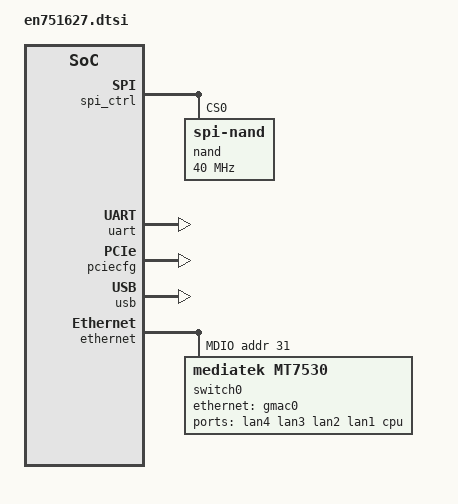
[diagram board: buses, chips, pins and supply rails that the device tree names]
// SPDX-License-Identifier: (GPL-2.0-only OR BSD-2-Clause)
/*
 * EcoNet EN751627 SoC device tree include
 * EN751627 family: EN7516, EN7527, EN7561
 * Big-endian quad-VPE MIPS 1004Kc with MIPS GIC
 *
 * Register map from EcoNet GPL kernel (tc3162.h):
 *   SCU/CLK:   0x1fb00000
 *   Chip SCU:  0x1fa20000
 *   SPI ctrl:  0x1fa10000
 *   Ethernet:  0x1fb50000
 *   xHCI USB:  0x1fb90000
 *   PCIe cfg:  0x1fb80000
 *   GIC:       0x1f8c0000
 *   UART:      0x1fbf0000
 *   Timer:     0x1fbf0400 / 0x1fbe0000
 *   GPIO:      0x1fbf0200
 */

/dts-v1/;

#include <dt-bindings/interrupt-controller/mips-gic.h>
#include <dt-bindings/clock/econet,en751221-scu.h>
#include <dt-bindings/reset/econet,en751221-scu.h>
#include <dt-bindings/gpio/gpio.h>

/ {
	compatible = "econet,en751627";
	#address-cells = <1>;
	#size-cells = <1>;

	hpt_clock: clock {
		compatible = "fixed-clock";
		#clock-cells = <0>;
		clock-frequency = <200000000>;  /* 200 MHz */
	};

	spi_clock: spi-clock {
		compatible = "fixed-clock";
		#clock-cells = <0>;
		clock-frequency = <40000000>;  /* 40 MHz */
	};

	cpus {
		#address-cells = <1>;
		#size-cells = <0>;

		cpu@0 {
			device_type = "cpu";
			compatible = "mips,mips1004Kc";
			reg = <0>;
		};

		cpu@1 {
			device_type = "cpu";
			compatible = "mips,mips1004Kc";
			reg = <1>;
		};

		cpu@2 {
			device_type = "cpu";
			compatible = "mips,mips1004Kc";
			reg = <2>;
		};

		cpu@3 {
			device_type = "cpu";
			compatible = "mips,mips1004Kc";
			reg = <3>;
		};
	};

	cpuintc: interrupt-controller {
		compatible = "mti,cpu-interrupt-controller";
		interrupt-controller;
		#address-cells = <0>;
		#interrupt-cells = <1>;
	};

	gic: interrupt-controller@1f8c0000 {
		compatible = "mti,gic";
		reg = <0x1f8c0000 0x20000>;

		interrupt-controller;
		#interrupt-cells = <3>;

		interrupt-parent = <&cpuintc>;
		interrupts = <2>;
	};

	/*
	 * EN751627 SCU uses EN751221 register layout.
	 * The chip-scu syscon is required by the EN751221 clock driver
	 * for regmap access to read clock divider registers.
	 */
	chip_scu: syscon@1fa20000 {
		compatible = "econet,en751221-chip-scu", "syscon";
		reg = <0x1fa20000 0x970>;
	};

	scu: system-controller@1fb00000 {
		compatible = "econet,en751221-scu";
		reg = <0x1fb00000 0x970>;
		#clock-cells = <1>;
		#reset-cells = <1>;
	};

	/* PCIe PHY initialised by BL2 bootloader; no driver required */

	gpio0: gpio@1fbf0200 {
		compatible = "airoha,en7523-gpio";
		reg = <0x1fbf0204 0x4>,
		      <0x1fbf0200 0x4>,
		      <0x1fbf0220 0x4>,
		      <0x1fbf0214 0x4>;
		gpio-controller;
		#gpio-cells = <2>;
	};

	/*
	 * Serial LED shift register (SGPIO).
	 * CR_SGPIO_DATA at 0x1fbf0224 — 14-bit shift register output.
	 * Write a 14-bit word; hardware clocks it out serially to 7 RGB LEDs.
	 * bit(n*2)=Red, bit(n*2+1)=Green per LED, n=0..6 (LSB-first).
	 * LED order: 0=power, 1=sync, 2=globe, 3=ethernet, 4=2.4GHz, 5=5GHz, 6=phone.
	 * Bootloader boot state: 0x3F19 (power=red+green, ethernet=red+green,
	 *   2.4GHz/5GHz/phone=orange).
	 * Access via: /sys/kernel/debug/regmap/1fbf0224.sgpio-leds/registers
	 * Write example (power green only = 0x0002):
	 *   printf "0: 0x00000002\n" > /sys/kernel/debug/regmap/1fbf0224.sgpio-leds/registers
	 * Polling: bit31 of the register is SLED_STATUS_READY — poll before write.
	 */
	sgpio_leds: sgpio-leds@1fbf0224 {
		compatible = "syscon";
		reg = <0x1fbf0224 0x4>;
		reg-io-width = <4>;
	};

	gpio1: gpio@1fbf0270 {
		compatible = "airoha,en7523-gpio";
		reg = <0x1fbf0270 0x4>,
		      <0x1fbf0260 0x4>,
		      <0x1fbf0264 0x4>,
		      <0x1fbf0278 0x4>;
		gpio-controller;
		#gpio-cells = <2>;
	};

	spi_ctrl: spi@1fa10000 {
		compatible = "airoha,en7581-snand";
		reg = <0x1fa10000 0x140>,
		      <0x1fa11000 0x160>;

		clocks = <&spi_clock>;
		clock-names = "spi";

		#address-cells = <1>;
		#size-cells = <0>;

		nand: nand@0 {
			compatible = "spi-nand";
			reg = <0>;
			spi-max-frequency = <40000000>;
			spi-tx-bus-width = <1>;
			spi-rx-bus-width = <2>;
		};
	};

	uart: serial@1fbf0000 {
		/*
		 * Use airoha,en7523-uart (8250_of) without an IRQ so the
		 * serial core falls back to polled RX via serial8250_timeout.
		 *
		 * ns16550a requires an IRQ (of_serial returns -ENXIO without
		 * one). 8250_of tolerates irq=0: univ8250_setup_irq() sees no
		 * IRQ and arms a ~10ms poll timer instead.
		 *
		 * THRE is always high on EN751627 before any RX byte arrives,
		 * so an EDGE_RISING IRQ never fires for RX; LEVEL_HIGH causes
		 * ~100k spurious THRE interrupts per second. No IRQ is correct.
		 */
		compatible = "airoha,en7523-uart";
		reg = <0x1fbf0000 0x30>;
		reg-io-width = <4>;
		reg-shift = <2>;

		clock-frequency = <1843200>;
	};

	timer_hpt: timer@1fbf0400 {
		compatible = "econet,en7528-timer";
		reg = <0x1fbf0400 0x14>,
		      <0x1fbe0000 0x14>;

		interrupt-parent = <&gic>;
		interrupts = <GIC_SHARED 30 IRQ_TYPE_EDGE_RISING>,
			     <GIC_SHARED 29 IRQ_TYPE_EDGE_RISING>;

		clocks = <&hpt_clock>;
	};

	/*
	 * PCIe config space. The EN751627 has 2 PCIe ports at the same
	 * addresses as EN7528.
	 */
	pciecfg: pciecfg@1fb80000 {
		compatible = "mediatek,generic-pciecfg", "syscon";
		reg = <0x1fb80000 0x1000>;
	};

	pcie0: pcie@1fb81000 {
		compatible = "econet,en7528-pcie";
		device_type = "pci";
		reg = <0x1fb81000 0x1000>;
		reg-names = "port0";
		linux,pci-domain = <0>;
		#address-cells = <3>;
		#size-cells = <2>;
		interrupt-parent = <&gic>;
		interrupts = <GIC_SHARED 23 IRQ_TYPE_LEVEL_HIGH>;
		interrupt-names = "pcie_irq";
		clocks = <&scu EN751221_CLK_PCIE>;
		clock-names = "sys_ck0";
		bus-range = <0x00 0xff>;
		ranges = <0x01000000 0 0x00000000 0x1f600000 0 0x00010000>,
			 <0x82000000 0 0x20000000 0x20000000 0 0x08000000>;
		status = "disabled";

		#interrupt-cells = <1>;
		interrupt-map-mask = <0 0 0 7>;
		interrupt-map = <0 0 0 1 &pcie_intc0 0>,
				<0 0 0 2 &pcie_intc0 1>,
				<0 0 0 3 &pcie_intc0 2>,
				<0 0 0 4 &pcie_intc0 3>;

		pcie_intc0: interrupt-controller {
			interrupt-controller;
			#address-cells = <0>;
			#interrupt-cells = <1>;
		};

		slot0: pcie@0,0 {
			device_type = "pci";
			reg = <0x0000 0 0 0 0>;
			#address-cells = <3>;
			#size-cells = <2>;
			ranges;
		};
	};

	pcie1: pcie@1fb83000 {
		compatible = "econet,en7528-pcie";
		device_type = "pci";
		reg = <0x1fb83000 0x1000>;
		reg-names = "port1";
		linux,pci-domain = <1>;
		#address-cells = <3>;
		#size-cells = <2>;
		interrupt-parent = <&gic>;
		interrupts = <GIC_SHARED 24 IRQ_TYPE_LEVEL_HIGH>;
		interrupt-names = "pcie_irq";
		clocks = <&scu EN751221_CLK_PCIE>;
		clock-names = "sys_ck1";
		bus-range = <0x00 0xff>;
		ranges = <0x01000000 0 0x00000000 0x1f610000 0 0x00010000>,
			 <0x82000000 0 0x28000000 0x28000000 0 0x08000000>;
		status = "disabled";

		#interrupt-cells = <1>;
		interrupt-map-mask = <0 0 0 7>;
		interrupt-map = <0 0 0 1 &pcie_intc1 0>,
				<0 0 0 2 &pcie_intc1 1>,
				<0 0 0 3 &pcie_intc1 2>,
				<0 0 0 4 &pcie_intc1 3>;

		pcie_intc1: interrupt-controller {
			interrupt-controller;
			#address-cells = <0>;
			#interrupt-cells = <1>;
		};

		slot1: pcie@0,0 {
			device_type = "pci";
			reg = <0x0000 0 0 0 0>;
			#address-cells = <3>;
			#size-cells = <2>;
			ranges;
		};
	};

	usb: usb@1fb90000 {
		compatible = "mediatek,mt8173-xhci", "mediatek,mtk-xhci";
		reg = <0x1fb90000 0x4000>,
		      <0x1fa80700 0x100>;
		reg-names = "mac", "ippc";

		#address-cells = <1>;
		#size-cells = <0>;

		interrupt-parent = <&gic>;
		interrupts = <GIC_SHARED 17 IRQ_TYPE_LEVEL_HIGH>;
		usb3-lpm-capable;
	};

	ethernet: ethernet@1fb50000 {
		compatible = "econet,en751627-eth";
		reg = <0x1fb50000 0x10000>;

		#address-cells = <1>;
		#size-cells = <0>;

		interrupt-parent = <&gic>;
		/*
		 * From EcoNet GPL kernel (cjdelisle/EcoNet-IOPSYS-GPL-5.4.55):
		 *   arch/mips/econet/irq.c gic_intr_map[] + tc3182_int_source.h:
		 *   QDMA_LAN0_INTR: GIC Source=21 -> GIC_SHARED 21 -> hwirq 28
		 *   QDMA_WAN0_INTR: GIC Source=22 -> GIC_SHARED 22 -> hwirq 29
		 */
		interrupts = <GIC_SHARED 21 IRQ_TYPE_LEVEL_HIGH>,
			     <GIC_SHARED 22 IRQ_TYPE_LEVEL_HIGH>;

		clocks = <&scu EN751221_CLK_GSW>;
		clock-names = "gsw";

		resets = <&scu EN751221_FE_RST>,
			 <&scu EN751221_FE_QDMA1_RST>,
			 <&scu EN751221_FE_QDMA2_RST>;
		reset-names = "fe", "qdma0", "qdma1";

		gmac0: mac@0 {
			compatible = "econet,eth-mac";
			reg = <0>;
			phy-mode = "trgmii";

			fixed-link {
				speed = <1000>;
				full-duplex;
				pause;
			};
		};

		gmac1: mac@1 {
			compatible = "econet,eth-mac";
			reg = <1>;
			status = "disabled";
		};

		/*
		 * MT7530 5-port GbE switch — MCM, accessed via MMIO-backed mii_bus
		 * registered by econet_eth driver in en75_probe(). GPIO25/26 do NOT
		 * connect to MT7530 MDIO pins — removing virtual,mdio-gpio.
		 * econet_eth registers en75_sw_mdio_read/write backed by switch_regs
		 * at 0x1fb58000 (FE+0x8000). mt7530-mdio probes switch@1f on that bus.
		 * mediatek,mcm: triggers MCM reset path in mt7530 driver.
		 * GSW reset on switch@1f only (not in econet_eth resets list).
		 */
		mdio: mdio-bus {
			#address-cells = <1>;
			#size-cells = <0>;

			switch0: switch@1f {
				compatible = "mediatek,mt7530";
				#address-cells = <1>;
				#size-cells = <0>;
				reg = <0x1f>;
				mediatek,mcm;
				resets = <&scu EN751221_GSW_RST>;
				reset-names = "mcm";


				ports {
					#address-cells = <1>;
					#size-cells = <0>;

					port@0 {
						reg = <0>;
						label = "lan4";
						phy-mode = "gmii";

						fixed-link {
							speed = <1000>;
							full-duplex;
						};
					};

					port@1 {
						reg = <1>;
						label = "lan3";
						phy-mode = "gmii";

						fixed-link {
							speed = <1000>;
							full-duplex;
						};
					};

					port@2 {
						reg = <2>;
						label = "lan2";
						phy-mode = "gmii";

						fixed-link {
							speed = <1000>;
							full-duplex;
						};
					};

					port@3 {
						reg = <3>;
						label = "lan1";
						phy-mode = "gmii";

						fixed-link {
							speed = <1000>;
							full-duplex;
						};
					};

					port@6 {
						reg = <6>;
						label = "cpu";
						ethernet = <&gmac0>;
						phy-mode = "trgmii";

						fixed-link {
							speed = <1000>;
							full-duplex;
							pause;
						};
					};
				};
			};
		};
	};
};
